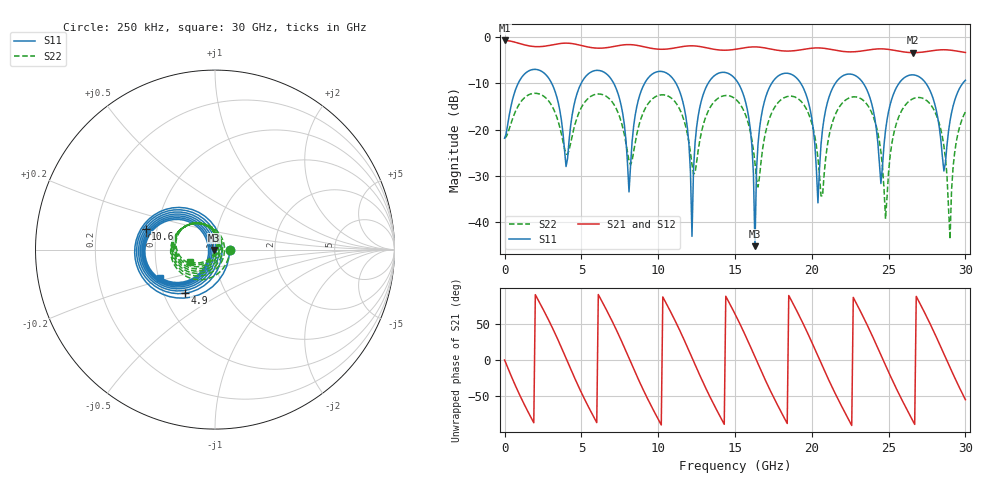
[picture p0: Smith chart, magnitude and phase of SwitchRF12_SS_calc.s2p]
! Port 1 = P1 P2
! Port 2 = P2 P2
# hz S ri R 50
! freq  reS11  imS11  reS21  imS21  reS12  imS12  reS22  imS22
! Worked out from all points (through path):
!   301 points, 250 kHz to 30 GHz, reference 50 ohm
!   highest |S21| = -0.73 dB at 250 kHz (marker M1); lowest = -3.4 dB at 26.6 GHz (marker M2)
!   lowest |S11| = -45.1 dB at 16.3 GHz (marker M3), VSWR 1.01, Z = 49.5 - j0.175 ohm
!   |S11| at or under -10 dB: 19.29 GHz to 21.53 GHz (2.244 GHz wide, 11 % of centre); 23.36 GHz to 25.68 GHz (2.32 GHz wide, 9.46 % of centre); 27.43 GHz to 29.82 GHz (2.392 GHz wide, 8.36 % of centre)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
!   |S22| runs from -43.6 to -12.1 dB; largest |S21 - S12| = 0
!   S11 on the Smith chart (normalised r, x): 250 kHz: 1.18, -0.00; 4.9 GHz: 0.64, -0.34; 10.6 GHz: 0.43, +0.12; 30 GHz: 0.51, -0.18
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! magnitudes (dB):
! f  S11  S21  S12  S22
! 250 kHz  -21.8  -0.7  -0.7  -21.8
! 4.9 GHz  -10.6  -1.7  -1.7  -15.9
! 5.1 GHz  -9.3  -1.9  -1.9  -14.6
! 8.1 GHz  -33.4  -1.6  -1.6  -26.7
! 10.1 GHz  -7.4  -2.6  -2.6  -12.5
! 10.6 GHz  -7.9  -2.6  -2.6  -12.7
! 11.8 GHz  -17.2  -2.0  -2.0  -19.4
! 12.2 GHz  -43.0  -1.9  -1.9  -27.5
! 12.8 GHz  -13.9  -2.1  -2.1  -20.7
! 15.1 GHz  -9.4  -2.6  -2.6  -13.6
! 16 GHz  -19.9  -2.2  -2.2  -20.5
! 16.3 GHz  -45.1  -2.1  -2.1  -27.1
! 17.3 GHz  -10.5  -2.6  -2.6  -17.1
! 20.1 GHz  -19.9  -2.4  -2.4  -19.9
! 20.4 GHz  -35.8  -2.3  -2.3  -26.1
! 23 GHz  -8.7  -3.1  -3.1  -13.0
! 24.5 GHz  -31.6  -2.5  -2.5  -24.7
! 25.1 GHz  -14.6  -2.7  -2.7  -25.6
! 26.6 GHz  -8.2  -3.4  -3.4  -13.3
! 28.4 GHz  -22.2  -2.8  -2.8  -19.9
! 29 GHz  -18.1  -2.8  -2.8  -43.6
! 30 GHz  -9.3  -3.3  -3.3  -16.2
